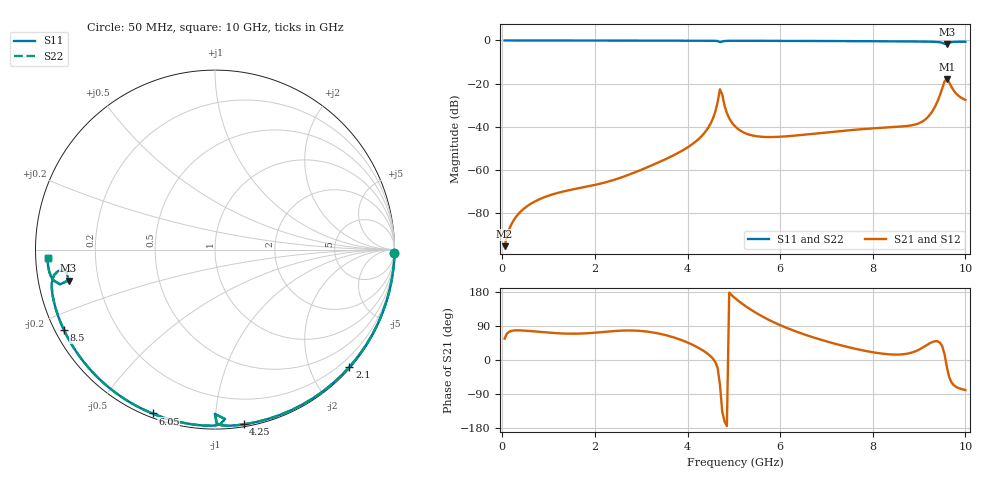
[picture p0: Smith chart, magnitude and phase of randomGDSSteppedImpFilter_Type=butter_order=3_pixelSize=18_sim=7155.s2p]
! freq	dB(S11)	phase(S11)	dB(S12)	phase(S12)
!  dB(S21)	phase(S21)	dB(S22)	phase(S22)
!S-par simulation data
#  GHz  S  DB  R 50
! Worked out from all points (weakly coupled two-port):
!   200 points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, 50 MHz to 10 GHz, reference 50 ohm
!   highest |S21| = -17.85 dB at 9.6 GHz (marker M1); lowest = -95.4 dB at 50 MHz (marker M2)
!   lowest |S11| = -1.6 dB at 9.6 GHz (marker M3), VSWR 11.07, Z = 4.56 - j5.21 ohm
!   |S11| at or under -10 dB: nowhere
!   |S22| runs from -1.6 to 0.0 dB; largest |S21 - S12| = 0
!   S11 on the Smith chart (normalised r, x): 50 MHz: open; 2.1 GHz: 0.02, -2.67; 4.25 GHz: 0.02, -1.18; 6.05 GHz: 0.02, -0.69; 8.5 GHz: 0.03, -0.25; 10 GHz: 0.03, -0.03
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0.05  -0.00 -1.0  -95.45 56.3  -95.45 56.3  -0.00 -1.0
0.35  -0.00 -7.0  -80.45 78.2  -80.45 78.2  -0.00 -7.0
0.9  -0.02 -17.9  -72.80 73.1  -72.80 73.1  -0.02 -17.9
1.75  -0.04 -34.4  -68.13 70.0  -68.13 70.0  -0.04 -34.4
2.1  -0.05 -41.1  -66.53 73.0  -66.53 73.0  -0.05 -41.1
3.4  -0.09 -65.3  -56.33 69.3  -56.33 69.3  -0.09 -65.3
4.25  -0.12 -80.7  -45.52 31.1  -45.52 31.1  -0.12 -80.7
4.55  -0.15 -86.6  -36.13 3.4  -36.13 3.4  -0.15 -86.6
4.65  -0.28 -89.4  -28.62 -20.8  -28.62 -20.8  -0.28 -89.4
4.7  -0.77 -90.1  -22.67 -64.8  -22.67 -64.8  -0.77 -90.1
4.85  -0.19 -89.6  -33.71 -174.2  -33.71 -174.2  -0.19 -89.6
5.05  -0.16 -93.7  -40.34 160.8  -40.34 160.8  -0.16 -93.7
5.4  -0.17 -99.9  -44.09 130.3  -44.09 130.3  -0.17 -99.9
6.05  -0.20 -110.9  -44.61 89.3  -44.61 89.3  -0.20 -110.9
6.7  -0.24 -121.7  -43.33 60.3  -43.33 60.3  -0.24 -121.7
8.35  -0.40 -149.4  -40.30 15.0  -40.30 15.0  -0.40 -149.4
8.5  -0.41 -152.0  -40.10 14.2  -40.10 14.2  -0.41 -152.1
9.15  -0.53 -164.0  -36.36 38.2  -36.36 38.2  -0.53 -164.1
9.35  -0.65 -168.4  -30.47 49.7  -30.47 49.7  -0.65 -168.5
9.6  -1.57 -168.0  -17.85 -18.5  -17.85 -18.5  -1.56 -168.1
9.8  -0.62 -172.2  -24.63 -71.0  -24.63 -71.0  -0.62 -172.3
10  -0.59 -177.1  -27.58 -79.3  -27.58 -79.3  -0.59 -177.2
